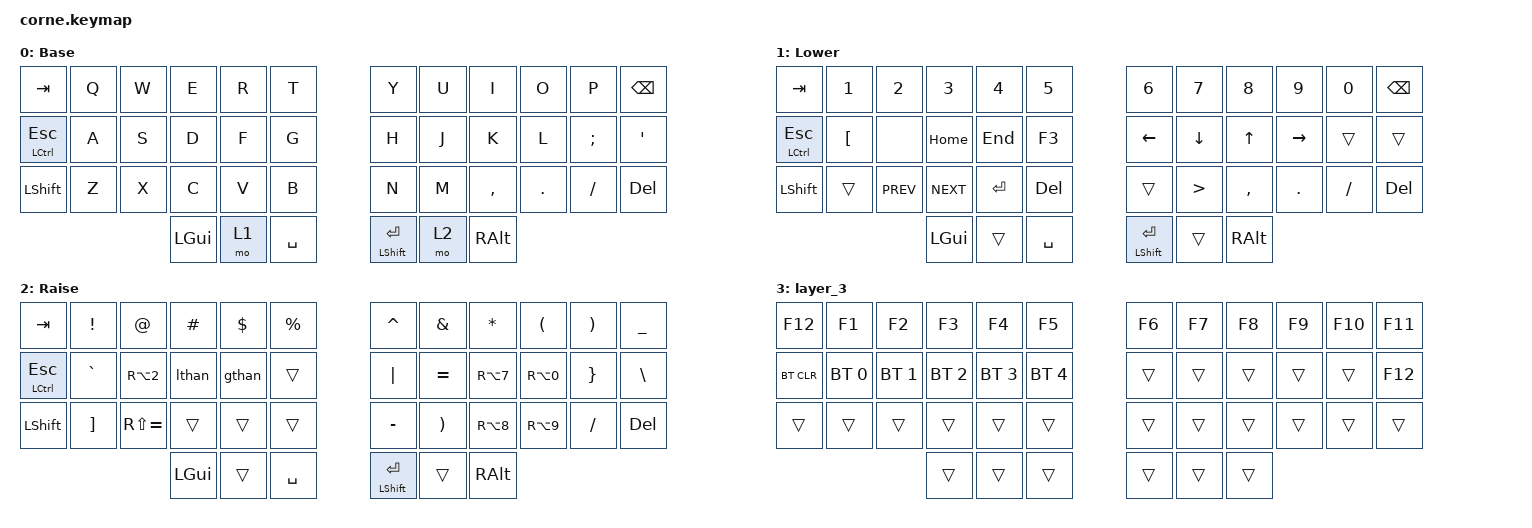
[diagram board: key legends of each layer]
/*
 * Copyright (c) 2020 The ZMK Contributors
 *
 * SPDX-License-Identifier: MIT
 */

#include <behaviors.dtsi>
#include <dt-bindings/zmk/bt.h>
#include <dt-bindings/zmk/keys.h>

/ {
    combos {
        compatible = "zmk,combos";
    };

    behaviors {
    };

    macros {
        gthan: gthan {
            compatible = "zmk,behavior-macro";
            label = "GTHAN";
            #binding-cells = <0>;
            bindings =
                <&macro_press>,
                <&kp LSHFT>,
                <&macro_tap>,
                <&kp NUBS>,
                <&macro_release>,
                <&kp LSHFT>;
        };
        lthan: lthan {
            compatible = "zmk,behavior-macro";
            label = "LTHAN";
            #binding-cells = <0>;
            bindings = <&macro_press>, <&kp NUBS>, <&macro_release>, <&kp NUBS>;
        };
    };

    keymap {
        compatible = "zmk,keymap";

        default_layer {
            // -----------------------------------------------------------------------------------------
            // |  TAB |  Q  |  W  |  E  |  R  |  T  |   |  Y  |  U   |  I  |  O  |  P  | BKSP |
            // | CTRL |  A  |  S  |  D  |  F  |  G  |   |  H  |  J   |  K  |  L  |  ;  |  '   |
            // | SHFT |  Z  |  X  |  C  |  V  |  B  |   |  N  |  M   |  ,  |  .  |  /  | ESC  |
            //                    | GUI | LWR | SPC |   | ENT | RSE  | ALT |

            label = "Base";
            bindings = <
&kp TAB           &kp Q  &kp W  &kp E     &kp R  &kp T        &kp Y                 &kp U  &kp I      &kp O    &kp P          &kp BSPC
&mt LCTRL ESCAPE  &kp A  &kp S  &kp D     &kp F  &kp G        &kp H                 &kp J  &kp K      &kp L    &kp SEMICOLON  &kp SQT
&kp LSHFT         &kp Z  &kp X  &kp C     &kp V  &kp B        &kp N                 &kp M  &kp COMMA  &kp DOT  &kp FSLH       &kp DELETE
                                &kp LGUI  &mo 1  &kp SPACE    &mt LEFT_SHIFT ENTER  &mo 2  &kp RALT
            >;
        };

        lower_layer {
            // -----------------------------------------------------------------------------------------
            // |  TAB |  1  |  2  |  3  |  4  |  5  |   |  6  |  7  |  8  |  9  |  0  | BKSP |
            // | BTCLR| BT1 | BT2 | BT3 | BT4 | BT5 |   | LFT | DWN |  UP | RGT |     |      |
            // | SHFT |     |     |     |     |     |   |     |     |     |     |     |      |
            //                    | GUI |     | SPC |   | ENT |     | ALT |

            label = "Lower";
            bindings = <
&kp TAB           &kp N1            &kp N2      &kp N3      &kp N4      &kp N5        &kp N6                &kp N7            &kp N8     &kp N9      &kp N0     &kp BSPC
&mt LCTRL ESCAPE  &kp LEFT_BRACKET  &none       &kp HOME    &kp END     &kp F3        &kp LEFT              &kp DOWN          &kp UP     &kp RIGHT   &trans     &trans
&kp LSHFT         &trans            &kp K_PREV  &kp K_NEXT  &kp RETURN  &kp DELETE    &trans                &kp GREATER_THAN  &kp COMMA  &kp PERIOD  &kp SLASH  &kp DELETE
                                                &kp LGUI    &trans      &kp SPACE     &mt LEFT_SHIFT ENTER  &trans            &kp RALT
            >;
        };

        raise_layer {
            // -----------------------------------------------------------------------------------------
            // |  TAB |  !  |  @  |  #  |  $  |  %  |   |  ^  |  &  |  *  |  (  |  )  | BKSP |
            // | CTRL |     |     |     |     |     |   |  -  |  =  |  [  |  ]  |  \  |  `   |
            // | SHFT |     |     |     |     |     |   |  _  |  +  |  {  |  }  | "|" |  ~   |
            //                    | GUI |     | SPC |   | ENT |     | ALT |

            label = "Raise";
            bindings = <
&kp TAB           &kp EXCL           &kp AT            &kp HASH  &kp DLLR  &kp PRCNT    &kp CARET             &kp AMPS               &kp ASTERISK      &kp LEFT_PARENTHESIS  &kp RIGHT_PARENTHESIS  &kp UNDERSCORE
&mt LCTRL ESCAPE  &kp GRAVE          &kp RA(NUMBER_2)  &lthan    &gthan    &trans       &kp PIPE              &kp EQUAL              &kp RA(NUMBER_7)  &kp RA(NUMBER_0)      &kp RIGHT_BRACE        &kp BACKSLASH
&kp LSHFT         &kp RIGHT_BRACKET  &kp RS(EQUAL)     &trans    &trans    &trans       &kp MINUS             &kp RIGHT_PARENTHESIS  &kp RA(NUMBER_8)  &kp RA(NUMBER_9)      &kp SLASH              &kp DELETE
                                                       &kp LGUI  &trans    &kp SPACE    &mt LEFT_SHIFT ENTER  &trans                 &kp RALT
            >;
        };

        layer_3 {
            bindings = <
&kp F12     &kp F1        &kp F2        &kp F3        &kp F4        &kp F5          &kp F6  &kp F7  &kp F8  &kp F9  &kp F10  &kp F11
&bt BT_CLR  &bt BT_SEL 0  &bt BT_SEL 1  &bt BT_SEL 2  &bt BT_SEL 3  &bt BT_SEL 4    &trans  &trans  &trans  &trans  &trans   &kp F12
&trans      &trans        &trans        &trans        &trans        &trans          &trans  &trans  &trans  &trans  &trans   &trans
                                        &trans        &trans        &trans          &trans  &trans  &trans
            >;
        };
    };

    conditional_layers {
        compatible = "zmk,conditional-layers";

        Layer3 {
            if-layers = <1 2>;
            then-layer = <3>;
        };
    };
};
